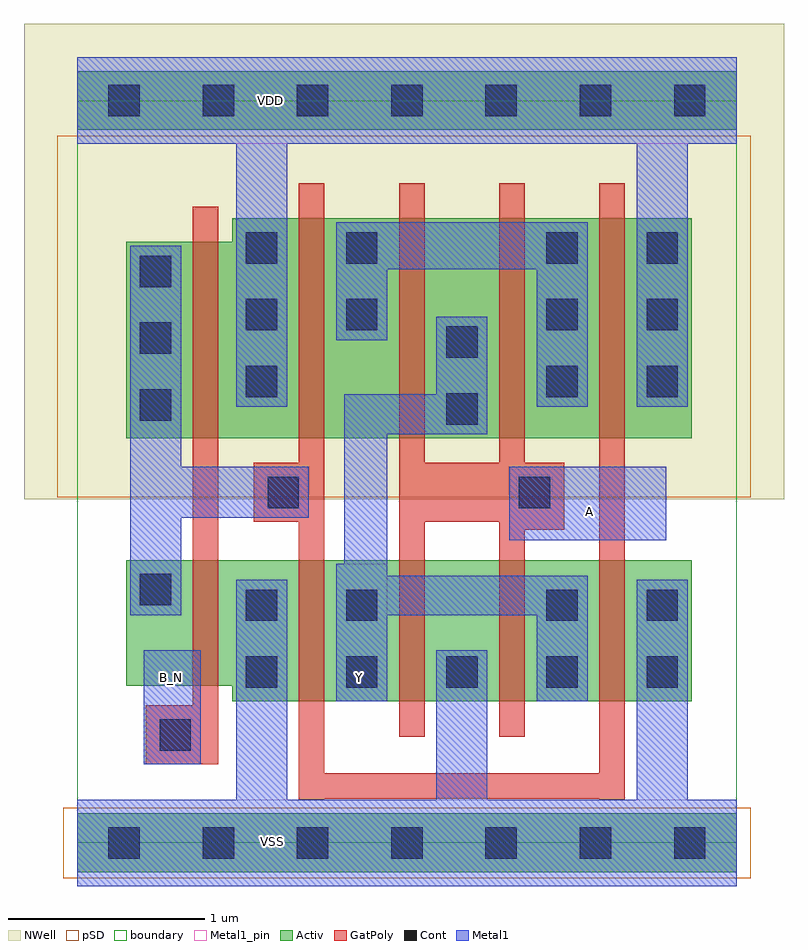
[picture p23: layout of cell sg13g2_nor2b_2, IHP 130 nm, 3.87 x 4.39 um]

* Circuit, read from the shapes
.subckt sg13g2_nor2b_2 A B_N VDD VSS Y
XM1 VSS B_N n1 VSS sg13_lv_nmos w=0.64u l=0.13u
XM2 Y n1 VSS VSS sg13_lv_nmos w=0.72u l=0.13u m=2
XM3 VSS A Y VSS sg13_lv_nmos w=0.72u l=0.13u m=2
XM4 VDD B_N n1 VDD sg13_lv_pmos w=1u l=0.13u
XM5 n2 n1 VDD VDD sg13_lv_pmos w=1.12u l=0.13u m=2
XM6 Y A n2 VDD sg13_lv_pmos w=1.12u l=0.13u m=2
.ends

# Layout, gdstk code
import gdstk
lib = gdstk.Library(unit=1e-6, precision=1e-09)
def R(c, l, rs):  # rectangles x0, y0, x1, y1
    for r in rs: c.add(gdstk.rectangle(r[:2], r[2:], *l))
def A(c, l, x, y, w, h, nx, ny, dx, dy):  # array of equal rectangles
    R(c, l, [(x+i*dx, y+j*dy, x+i*dx+w, y+j*dy+h) for i in range(nx) for j in range(ny)])
def P(c, l, *ps):  # polygons
    for p in ps: c.add(gdstk.Polygon(p, *l))
Activ = (1, 0)
GatPoly = (5, 0)
Cont = (6, 0)
Metal1 = (8, 0)
Metal1_pin = (8, 2)
pSD = (14, 0)
NWell = (31, 0)
boundary = (189, 4)

sg13g2_nor2b_2 = lib.new_cell('sg13g2_nor2b_2')
R(sg13g2_nor2b_2, Activ, [(0,-0.15,3.36,0.15), (0,3.63,3.36,3.93)])
P(sg13g2_nor2b_2, Activ, [(0.79,0.72),(0.79,0.8),(0.25,0.8),(0.25,1.44),(3.13,1.44),(3.13,0.72)],
  [(0.25,2.06),(0.25,3.06),(0.79,3.06),(0.79,3.18),(3.13,3.18),(3.13,2.06)])
P(sg13g2_nor2b_2, GatPoly, [(1.13,0.22),(1.13,1.635),(0.9,1.635),(0.9,1.935),(1.13,1.935),(1.13,3.36),(1.26,3.36),(1.26,0.355),(2.66,0.355),(2.66,3.36),(2.79,3.36),(2.79,0.22),(2.66,0.22),(2.66,0.225),(1.26,0.225),(1.26,0.22)],
  [(0.35,0.4),(0.35,0.7),(0.59,0.7),(0.59,3.24),(0.72,3.24),(0.72,0.4)],
  [(1.64,0.54),(1.64,3.36),(1.77,3.36),(1.77,1.935),(2.15,1.935),(2.15,3.36),(2.28,3.36),(2.28,1.935),(2.48,1.935),(2.48,1.595),(2.28,1.595),(2.28,0.54),(2.15,0.54),(2.15,1.635),(1.77,1.635),(1.77,0.54)])
A(sg13g2_nor2b_2, Cont, 0.16, -0.08, 0.16, 0.16, 7, 2, 0.48, 3.78)
A(sg13g2_nor2b_2, Cont, 0.86, 0.79, 0.16, 0.16, 5, 1, 0.51, 0)
A(sg13g2_nor2b_2, Cont, 0.32, 2.15, 0.16, 0.16, 1, 3, 0, 0.34)
A(sg13g2_nor2b_2, Cont, 0.86, 2.27, 0.16, 0.16, 1, 3, 0, 0.34)
A(sg13g2_nor2b_2, Cont, 2.39, 2.27, 0.16, 0.16, 1, 3, 0, 0.34)
A(sg13g2_nor2b_2, Cont, 2.9, 2.27, 0.16, 0.16, 1, 3, 0, 0.34)
R(sg13g2_nor2b_2, Cont, [(0.42,0.47,0.58,0.63), (0.86,1.13,1.02,1.29), (1.37,1.13,1.53,1.29), (2.39,1.13,2.55,1.29), (2.9,1.13,3.06,1.29), (0.32,1.21,0.48,1.37), (0.97,1.705,1.13,1.865), (2.25,1.705,2.41,1.865), (1.88,2.13,2.04,2.29), (1.88,2.47,2.04,2.63), (1.37,2.61,1.53,2.77), (1.37,2.95,1.53,3.11)])
R(sg13g2_nor2b_2, Metal1, [(0.34,0.4,0.63,0.98), (2.2,1.54,3,1.915)])
P(sg13g2_nor2b_2, Metal1, [(0,-0.22),(0,0.22),(0.81,0.22),(0.81,1.34),(1.07,1.34),(1.07,0.22),(1.83,0.22),(1.83,0.98),(2.09,0.98),(2.09,0.22),(2.85,0.22),(2.85,1.34),(3.11,1.34),(3.11,0.22),(3.36,0.22),(3.36,-0.22)],
  [(0.81,2.22),(0.81,3.56),(0,3.56),(0,4),(3.36,4),(3.36,3.56),(3.11,3.56),(3.11,2.22),(2.85,2.22),(2.85,3.56),(1.07,3.56),(1.07,2.22)],
  [(0.27,1.16),(0.27,3.04),(0.53,3.04),(0.53,1.915),(1.18,1.915),(1.18,1.655),(0.53,1.655),(0.53,1.16)],
  [(1.32,0.72),(1.32,1.42),(1.36,1.42),(1.36,2.285),(1.83,2.285),(1.83,2.68),(2.09,2.68),(2.09,2.08),(1.58,2.08),(1.58,1.36),(2.6,1.36),(2.6,0.72),(2.34,0.72),(2.34,1.16),(1.58,1.16),(1.58,0.72)],
  [(2.34,2.22),(2.34,2.92),(1.58,2.92),(1.58,2.56),(1.32,2.56),(1.32,3.16),(2.6,3.16),(2.6,2.22)])
R(sg13g2_nor2b_2, Metal1_pin, [(0,-0.22,3.36,0.22), (0.34,0.4,0.63,0.98), (1.32,0.72,1.58,1.42), (2.2,1.54,3,1.915), (0,3.56,3.36,4)])
R(sg13g2_nor2b_2, pSD, [(-0.07,-0.18,3.43,0.18), (-0.1,1.76,3.43,3.6)])
R(sg13g2_nor2b_2, NWell, [(-0.27,1.75,3.6,4.17)])
R(sg13g2_nor2b_2, boundary, [(0,0,3.36,3.78)])
sg13g2_nor2b_2.add(gdstk.Label('A', (2.61,1.685), layer=8, texttype=25))
sg13g2_nor2b_2.add(gdstk.Label('B_N', (0.48,0.84), layer=8, texttype=25))
sg13g2_nor2b_2.add(gdstk.Label('VDD', (0.985,3.78), layer=8, texttype=25))
sg13g2_nor2b_2.add(gdstk.Label('Y', (1.44,0.84), layer=8, texttype=25))
sg13g2_nor2b_2.add(gdstk.Label('VSS', (0.995,0.005), layer=8, texttype=25))

lib.write_gds('sg13g2_nor2b_2.gds')
